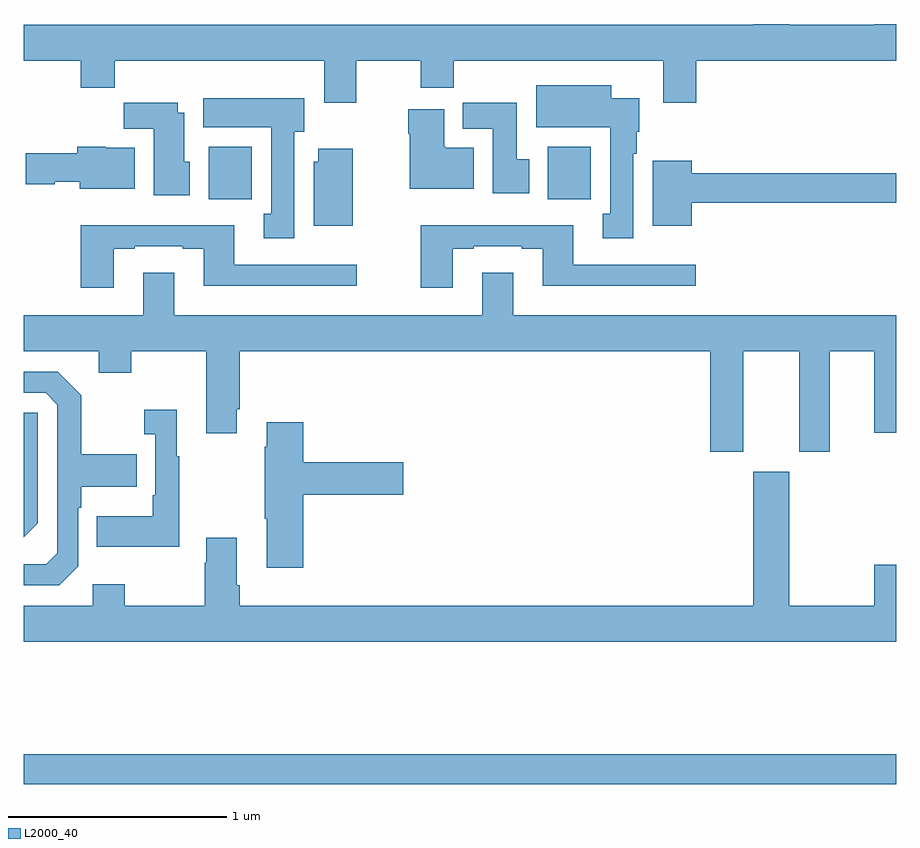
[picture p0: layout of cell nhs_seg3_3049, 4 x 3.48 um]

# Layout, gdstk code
import gdstk
lib = gdstk.Library(unit=1e-6, precision=1e-09)
def R(c, l, rs):  # rectangles x0, y0, x1, y1
    for r in rs: c.add(gdstk.rectangle(r[:2], r[2:], *l))
def P(c, l, *ps):  # polygons
    for p in ps: c.add(gdstk.Polygon(p, *l))
L2000_40 = (2000, 40)

nhs_seg3_3049 = lib.new_cell('nhs_seg3_3049')
R(nhs_seg3_3049, L2000_40, [(269,714.916,273,715.052), (269.849,717.596,270.046,717.838), (271.403,717.596,271.6,717.838)])
P(nhs_seg3_3049, L2000_40, [(270.525,718.232),(270.82,718.232),(270.82,718.108),(270.971,718.108),(270.971,718.232),(271.931,718.232),(271.931,718.038),(272.084,718.038),(272.084,718.232),(273,718.232),(273,718.4),(272.9,718.4),(272.9,718.396),(272.509,718.396),(272.509,718.4),(272.345,718.4),(272.345,718.396),(269,718.396),(269,718.232),(269.261,718.232),(269.261,718.108),(269.417,718.108),(269.417,718.232),(270.377,718.232),(270.377,718.038),(270.525,718.038)],
  [(271.795,717.806),(271.81,717.806),(271.81,717.906),(271.822,717.906),(271.822,718.06),(271.693,718.06),(271.693,718.12),(271.349,718.12),(271.349,717.926),(271.688,717.926),(271.688,717.53),(271.655,717.53),(271.655,717.417),(271.795,717.417)],
  [(270.241,717.906),(270.286,717.906),(270.286,718.06),(269.822,718.06),(269.822,717.926),(270.134,717.926),(270.134,717.53),(270.101,717.53),(270.101,717.417),(270.241,717.417)],
  [(269.761,717.768),(269.737,717.768),(269.737,717.994),(269.707,717.994),(269.707,718.039),(269.458,718.039),(269.458,717.92),(269.597,717.92),(269.597,717.614),(269.761,717.614)],
  [(271.318,717.78),(271.261,717.78),(271.261,718.038),(271.013,718.038),(271.013,717.92),(271.151,717.92),(271.151,717.624),(271.318,717.624)],
  [(271.063,717.832),(270.934,717.832),(270.934,717.838),(270.928,717.838),(270.928,718.009),(270.763,718.009),(270.763,717.896),(270.77,717.896),(270.77,717.644),(271.063,717.644)],
  [(269.509,717.832),(269.376,717.832),(269.376,717.838),(269.246,717.838),(269.246,717.807),(269.01,717.807),(269.01,717.665),(269.142,717.665),(269.142,717.677),(269.258,717.677),(269.258,717.644),(269.509,717.644)],
  [(270.508,717.829),(270.35,717.829),(270.35,717.768),(270.329,717.768),(270.329,717.476),(270.508,717.476)],
  [(272.062,717.58),(273,717.58),(273,717.716),(272.062,717.716),(272.062,717.772),(271.883,717.772),(271.883,717.476),(272.062,717.476)],
  [(269.413,717.369),(269.509,717.369),(269.509,717.381),(269.729,717.381),(269.729,717.369),(269.825,717.369),(269.825,717.2),(270.526,717.2),(270.526,717.297),(269.965,717.297),(269.965,717.478),(269.261,717.478),(269.261,717.192),(269.413,717.192)],
  [(270.967,717.369),(271.063,717.369),(271.063,717.381),(271.283,717.381),(271.283,717.369),(271.379,717.369),(271.379,717.2),(272.08,717.2),(272.08,717.297),(271.519,717.297),(271.519,717.478),(270.82,717.478),(270.82,717.192),(270.967,717.192)],
  [(272.299,716.9),(272.555,716.9),(272.555,716.439),(272.695,716.439),(272.695,716.9),(272.9,716.9),(272.9,716.526),(273,716.526),(273,717.064),(271.243,717.064),(271.243,717.259),(271.103,717.259),(271.103,717.064),(269.689,717.064),(269.689,717.259),(269.549,717.259),(269.549,717.064),(269,717.064),(269,716.9),(269.345,716.9),(269.345,716.801),(269.493,716.801),(269.493,716.9),(269.837,716.9),(269.837,716.523),(269.977,716.523),(269.977,716.635),(269.99,716.635),(269.99,716.9),(272.147,716.9),(272.147,716.439),(272.299,716.439)],
  [(269.25,715.914),(269.25,716.183),(269.263,716.183),(269.263,716.279),(269.519,716.279),(269.519,716.427),(269.263,716.427),(269.263,716.699),(269.157,716.805),(269,716.805),(269,716.709),(269.1,716.709),(269.154,716.655),(269.154,715.974),(269.103,715.923),(269,715.923),(269,715.827),(269.163,715.827)],
  [(269.713,716.419),(269.701,716.419),(269.701,716.632),(269.553,716.632),(269.553,716.519),(269.604,716.519),(269.604,716.239),(269.592,716.239),(269.592,716.143),(269.335,716.143),(269.335,716.003),(269.713,716.003)],
  [(269.064,716.112),(269.064,716.619),(269,716.619),(269,716.048)],
  [(270.281,716.243),(270.739,716.243),(270.739,716.39),(270.281,716.39),(270.281,716.575),(270.113,716.575),(270.113,716.462),(270.106,716.462),(270.106,716.131),(270.113,716.131),(270.113,715.908),(270.281,715.908)],
  [(273,715.921),(272.9,715.921),(272.9,715.732),(272.509,715.732),(272.509,716.347),(272.345,716.347),(272.345,715.732),(269.99,715.732),(269.99,715.828),(269.977,715.828),(269.977,716.044),(269.837,716.044),(269.837,715.931),(269.83,715.931),(269.83,715.732),(269.463,715.732),(269.463,715.831),(269.316,715.831),(269.316,715.732),(269,715.732),(269,715.568),(273,715.568)])

lib.write_gds('nhs_seg3_3049.gds')
